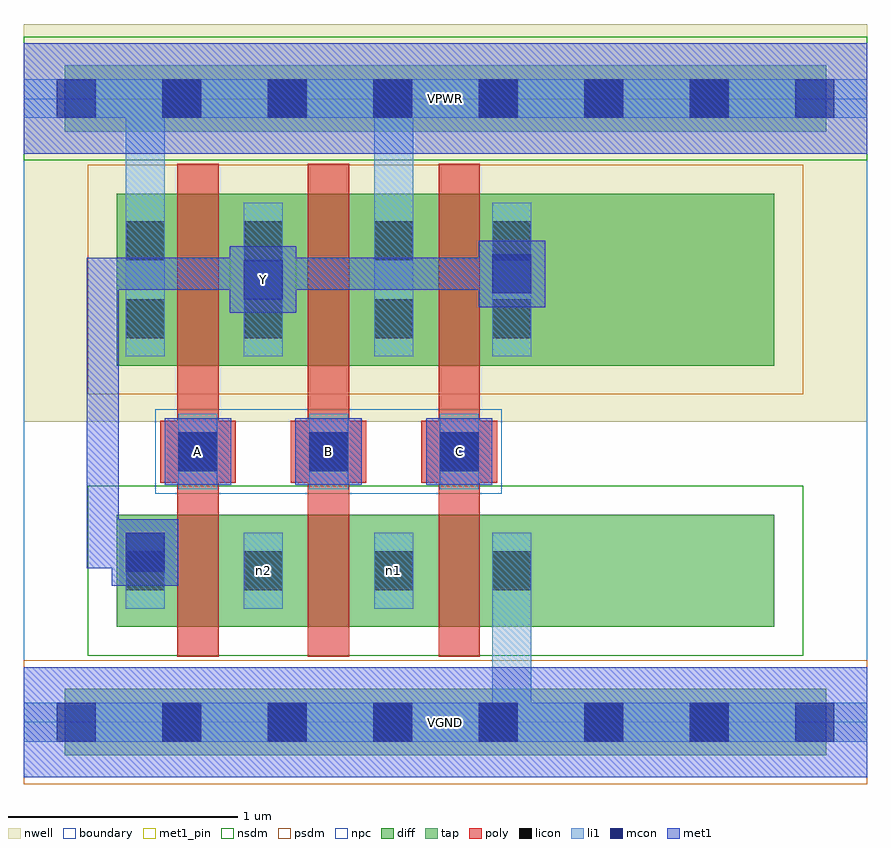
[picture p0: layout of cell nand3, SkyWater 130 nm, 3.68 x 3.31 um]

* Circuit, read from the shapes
.subckt nand3 A B C VGND VPWR Y n1 n2
XM1 n2 A Y VGND sky130_fd_pr__nfet_01v8 w=0.49 l=0.18
XM2 n1 B n2 VGND sky130_fd_pr__nfet_01v8 w=0.49 l=0.18
XM3 VGND C n1 VGND sky130_fd_pr__nfet_01v8 w=0.49 l=0.18
XM4 Y A VPWR VPWR sky130_fd_pr__pfet_01v8 w=0.75 l=0.18
XM5 VPWR B Y VPWR sky130_fd_pr__pfet_01v8 w=0.75 l=0.18
XM6 Y C VPWR VPWR sky130_fd_pr__pfet_01v8 w=0.75 l=0.18
.ends

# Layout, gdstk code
import gdstk
lib = gdstk.Library(unit=1e-6, precision=1e-09)
def R(c, l, rs):  # rectangles x0, y0, x1, y1
    for r in rs: c.add(gdstk.rectangle(r[:2], r[2:], *l))
def A(c, l, x, y, w, h, nx, ny, dx, dy):  # array of equal rectangles
    R(c, l, [(x+i*dx, y+j*dy, x+i*dx+w, y+j*dy+h) for i in range(nx) for j in range(ny)])
nwell = (64, 20)
diff = (65, 20)
tap = (65, 44)
poly = (66, 20)
licon = (66, 44)
li1 = (67, 20)
mcon = (67, 44)
met1_pin = (68, 16)
met1 = (68, 20)
nsdm = (93, 44)
psdm = (94, 20)
npc = (95, 20)
boundary = (235, 4)

nand3 = lib.new_cell('nand3')
R(nand3, nwell, [(0,1.31,3.68,3.045)])
R(nand3, diff, [(0.405,0.415,3.275,0.905), (0.405,1.555,3.275,2.305)])
R(nand3, tap, [(0.18,-0.145,3.5,0.145), (0.18,2.575,3.5,2.865)])
A(nand3, poly, 0.67, 0.285, 0.18, 2.15, 3, 1, 0.57, 0)
A(nand3, poly, 0.595, 1.045, 0.33, 0.27, 3, 1, 0.57, 0)
A(nand3, licon, 0.605, -0.085, 0.17, 0.17, 6, 2, 0.46, 2.72)
A(nand3, licon, 0.675, 1.095, 0.17, 0.17, 3, 1, 0.57, 0)
R(nand3, licon, [(0.445,0.575,0.615,0.745), (0.96,0.575,1.13,0.745), (1.53,0.575,1.7,0.745), (2.045,0.575,2.215,0.745), (0.445,1.675,0.615,1.845), (0.96,1.675,1.13,1.845), (1.53,1.675,1.7,1.845), (2.045,1.675,2.215,1.845), (0.445,2.015,0.615,2.185), (0.96,2.015,1.13,2.185), (1.53,2.015,1.7,2.185), (2.045,2.015,2.215,2.185)])
A(nand3, li1, 0.675, 1.015, 0.17, 0.33, 3, 1, 0.57, 0)
R(nand3, li1, [(0,-0.085,3.68,0.085), (2.045,-0.085,2.215,0.825), (0.445,0.495,0.615,0.825), (0.96,0.495,1.13,0.825), (1.53,0.495,1.7,0.825), (2.045,0.495,2.215,0.825), (0.445,1.595,0.615,2.265), (0.445,1.595,0.615,2.805), (0.96,1.595,1.13,2.265), (1.53,1.595,1.7,2.265), (1.53,1.595,1.7,2.805), (2.045,1.595,2.215,2.265), (0,2.635,3.68,2.805)])
A(nand3, mcon, 0.145, -0.085, 0.17, 0.17, 8, 2, 0.46, 2.72)
A(nand3, mcon, 0.675, 1.095, 0.17, 0.17, 3, 1, 0.57, 0)
R(nand3, mcon, [(0.445,0.655,0.615,0.825), (0.96,1.845,1.13,2.015), (2.045,1.87,2.215,2.04)])
A(nand3, met1_pin, 0.615, 1.035, 0.29, 0.29, 3, 1, 0.57, 0)
R(nand3, met1_pin, [(0,-0.24,3.68,0.24), (0.9,1.785,1.19,2.075), (0,2.48,3.68,2.96)])
A(nand3, met1, 0.615, 1.035, 0.29, 0.29, 3, 1, 0.57, 0)
R(nand3, met1, [(0,-0.24,3.68,0.24), (0.385,0.595,0.675,0.885), (0.275,0.67,0.6,0.81), (0.275,0.67,0.415,0.99), (0.275,0.85,0.415,2.025), (0.9,1.785,1.19,2.075), (1.985,1.81,2.275,2.1), (0.275,1.885,1.105,2.025), (0.965,1.885,1.105,2.025), (0.965,1.885,2.025,2.025), (1.885,1.885,2.2,2.025), (0,2.48,3.68,2.96)])
R(nand3, nsdm, [(0.28,0.29,3.4,1.03), (0,2.45,3.68,2.99)])
R(nand3, psdm, [(0,-0.27,3.68,0.27), (0.28,1.43,3.4,2.43)])
R(nand3, npc, [(0.575,0.995,2.085,1.365)])
R(nand3, boundary, [(0,0,3.68,2.72)])
nand3.add(gdstk.Label('n2', (1.045,0.66), layer=67, texttype=5))
nand3.add(gdstk.Label('n1', (1.615,0.66), layer=67, texttype=5))
nand3.add(gdstk.Label('A', (0.76,1.18), layer=68, texttype=5))
nand3.add(gdstk.Label('B', (1.33,1.18), layer=68, texttype=5))
nand3.add(gdstk.Label('C', (1.9,1.18), layer=68, texttype=5))
nand3.add(gdstk.Label('Y', (1.045,1.93), layer=68, texttype=5))
nand3.add(gdstk.Label('VPWR', (1.84,2.72), layer=68, texttype=5))
nand3.add(gdstk.Label('VGND', (1.84,0), layer=68, texttype=5))
nand3.add(gdstk.Label('A', (0.76,1.18), layer=68, texttype=16))
nand3.add(gdstk.Label('B', (1.33,1.18), layer=68, texttype=16))
nand3.add(gdstk.Label('C', (1.9,1.18), layer=68, texttype=16))
nand3.add(gdstk.Label('Y', (1.045,1.93), layer=68, texttype=16))
nand3.add(gdstk.Label('VPWR', (1.84,2.72), layer=68, texttype=16))
nand3.add(gdstk.Label('VGND', (1.84,0), layer=68, texttype=16))

lib.write_gds('nand3.gds')
